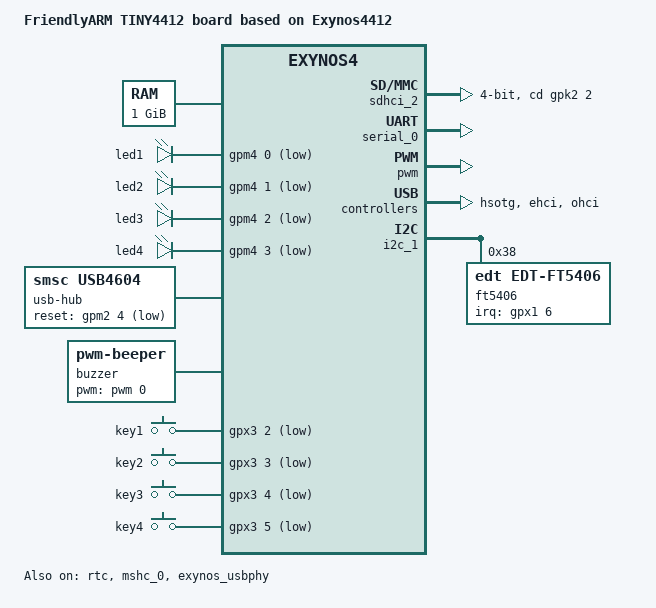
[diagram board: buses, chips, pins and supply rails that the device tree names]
/*
 * FriendlyARM's Exynos4412 based TINY4412 board device tree source
 *
 * Copyright (c) 2013 Alex Ling <kasimling@gmail.com>
 *
 * Device tree source file for FriendlyARM's TINY4412 board which is based on
 * Samsung's Exynos4412 SoC.
 *
 * This program is free software; you can redistribute it and/or modify
 * it under the terms of the GNU General Public License version 2 as
 * published by the Free Software Foundation.
*/

/dts-v1/;
#include "exynos4412.dtsi"
#include <dt-bindings/gpio/gpio.h>
#include <dt-bindings/input/input.h>

/ {
	model = "FriendlyARM TINY4412 board based on Exynos4412";
	compatible = "friendlyarm,tiny4412", "samsung,exynos4412", "samsung,exynos4";

	chosen {
		stdout-path = &serial_0;
	};

	memory@40000000 {
		device_type = "memory";
		reg = <0x40000000 0x40000000>;
	};

	leds {
		compatible = "gpio-leds";

		led1 {
			label = "led1";
			gpios = <&gpm4 0 GPIO_ACTIVE_LOW>;
			default-state = "off";
			linux,default-trigger = "heartbeat";
		};

		led2 {
			label = "led2";
			gpios = <&gpm4 1 GPIO_ACTIVE_LOW>;
			default-state = "off";
			linux,default-trigger = "mmc0";
		};

		led3 {
			label = "led3";
			gpios = <&gpm4 2 GPIO_ACTIVE_LOW>;
			default-state = "off";
			linux,default-trigger = "mmc1";
		};

		led4 {
			label = "led4";
			gpios = <&gpm4 3 GPIO_ACTIVE_LOW>;
			default-state = "off";
			linux,default-trigger = "none";
		};
	};

	fixed-rate-clocks {
		xxti {
			compatible = "samsung,clock-xxti";
			clock-frequency = <0>;
		};

		xusbxti {
			compatible = "samsung,clock-xusbxti";
			clock-frequency = <24000000>;
		};
	};

	usb-hub { 
		compatible = "smsc,usb4604";
		reset-gpios = <&gpm2 4 GPIO_ACTIVE_LOW>;
		initial-mode = <1>; 
		status = "okay";
	};

		
	HelloWorld {
		compatible = "tiny4412, hello_world";
		status = "okay";
		
		device1 {
			example = "hello_world";
		};
	};

	buzzer {
		compatible = "pwm-beeper";
		pwms = <&pwm 0 1000000000 0>;
	};

	gpio_keys {
		compatible = "gpio-keys";
		pinctrl-names = "default";

		key1 {
			interrupt-parent = <&gpx3>;
			interrupts = <2 IRQ_TYPE_EDGE_FALLING>;
			gpios = <&gpx3 2 GPIO_ACTIVE_LOW>;
			linux,code = <KEY_1>;
			label = "key1";
			debounce-interval = <10>;
			wakeup-source;
		};
		key2 {
			interrupt-parent = <&gpx3>;
			interrupts = <3 IRQ_TYPE_EDGE_FALLING>;
			gpios = <&gpx3 3 GPIO_ACTIVE_LOW>;
			linux,code = <KEY_2>;
			label = "key2";
			debounce-interval = <10>;
			wakeup-source;
		};
		key3 {
			interrupt-parent = <&gpx3>;
			interrupts = <4 IRQ_TYPE_EDGE_FALLING>;
			gpios = <&gpx3 4 GPIO_ACTIVE_LOW>;
			linux,code = <KEY_3>;
			label = "key3";
			debounce-interval = <10>;
			wakeup-source;
		};
		key4 {
			interrupt-parent = <&gpx3>;
			interrupts = <5 IRQ_TYPE_EDGE_FALLING>;
			gpios = <&gpx3 5 GPIO_ACTIVE_LOW>;
			linux,code = <KEY_4>;
			label = "key4";
			debounce-interval = <10>;
			wakeup-source;
		};	
	};

	backlight {
		compatible = "tiny4412, onewire_backlight";
		reg = <0x139D0000 0x1000>;
		pinctrl-names = "backlight_in", "backlight_out";
		pinctrl-0 = <&backlight_in>;
		pinctrl-1 = <&backlight_out>;
		gpios = <&gpx1 2 GPIO_ACTIVE_HIGH>;
		clock-names = "timers";
		clocks = <&clock CLK_PWM>;
		interrupts = <GIC_SPI 40 IRQ_TYPE_LEVEL_HIGH>;
		pwms = <&pwm 0 1000000000 0>;
	};

	lcd_demo@11C00000{
			compatible         = "tiny4412,lcd_demo";
			reg = <0x11C00000  0x20c0 0x10010210 0x08 0x10023c80 0x04 0x1003c000 0x1000>;
			pinctrl-names = "default";
			pinctrl-0 = <&lcd_demo>;
			clocks = <&clock CLK_FIMD0 &clock CLK_ACLK160>;
			clock-names = "fimd0","aclk160";
	};

};


&rtc {
	status = "okay";
};

&sdhci_2 {
	bus-width = <4>;
	pinctrl-0 = <&sd2_clk &sd2_cmd &sd2_cd &sd2_bus4>;
	pinctrl-names = "default";
	cd-gpios = <&gpk2 2 GPIO_ACTIVE_HIGH>;
	status = "okay";
};

&serial_0 {
	status = "okay";
};

&mshc_0 {
	pinctrl-0 = <&sd4_clk &sd4_cmd &sd4_bus4 &sd4_bus8>;
	pinctrl-names = "default";
	status = "okay";

	num-slots = <1>;
	broken-cd;
	card-detect-delay = <200>;
	samsung,dw-mshc-ciu-div = <3>;
	samsung,dw-mshc-sdr-timing = <2 3>;
	samsung,dw-mshc-ddr-timing = <1 2>;
	bus-width = <8>;
	cap-mmc-highspeed;
};

&pwm {
	samsung,pwm-outputs = <0>;
	pinctrl-0 = <&pwm0_out>;
	pinctrl-names = "default";
	status = "okay";	
};

&exynos_usbphy {
	status = "okay";
};

&hsotg {
	status = "okay";
};

&ehci {
	status = "okay";
	port@0 {
		status = "okay";
	};
	port@1 {
		status = "okay";
	};
	port@2 {
		status = "okay";
	};
};

&ohci {
	status = "okay";
	port@0 {
		status = "okay";
	};
};

&pinctrl_1 {
	backlight_out: backlight_out {
		samsung,pins = "gpx1-2";
		samsung,pin-function = <EXYNOS_PIN_FUNC_OUTPUT>;
		samsung,pin-pud = <EXYNOS_PIN_PULL_NONE>;
		samsung,pin-drv = <EXYNOS4_PIN_DRV_LV1>;
	};

	backlight_in: backlight_in {
		samsung,pins = "gpx1-2";
		samsung,pin-function = <EXYNOS_PIN_FUNC_INPUT>;
		samsung,pin-pud = <EXYNOS_PIN_PULL_NONE>;
		samsung,pin-drv = <EXYNOS4_PIN_DRV_LV1>;
	};
	
};

&i2c_1 {
	samsung,i2c-sda-delay = <100>;
	samsung,i2c-slave-addr = <0x10>;
	samsung,i2c-max-bus-freq = <400000>;
	status = "okay";

	ft5406: touchscreen@38 {
		compatible = "edt,edt-ft5406";
		reg = <0x38>;
		interrupt-parent = <&gpx1>;
		interrupts = <6 IRQ_TYPE_EDGE_FALLING>;
		touchscreen-size-x = <800>;
		touchscreen-size-y = <480>;
		touchscreen-fuzz-x = <4>;
		touchscreen-fuzz-y = <7>;
		touchscreen-fuzz-pressure = <2>;
		touchscreen-max-pressure = <2048>;
	};
};

/*
&fimd {
	pinctrl-0 = <&lcd_clk &lcd_data24>;
	pinctrl-names = "default";
	status = "okay";
	clocks = <&clock CLK_FIMD0>, <&clock CLK_ACLK160>;
	
	display-timings {
		native-mode = <&timing0>;
		timing0: timing {
			clock-frequency = <30000000>;
			hactive = <800>;
			vactive = <480>;
			hfront-porch = <80>;
			hback-porch = <36>;
			hsync-len = <48>;
			vback-porch = <15>;
			vfront-porch = <22>;
			vsync-len = <3>;
		};
	};
	
	port {
		dsi_in: endpoint {
			remote-endpoint = <&dsi_out>;
		};
	};
};

&dsi_0 {
    samsung,burst-clock-frequency = <500000000>;
    samsung,esc-clock-frequency = <20000000>;
    samsung,pll-clock-frequency = <24000000>;
	status = "okay";
	
	ports {
		#address-cells = <1>;
		#size-cells = <0>;

		port@1 {
			reg = <1>;

			dsi_out: endpoint {
				remote-endpoint = <&dsi_in>;
				samsung,burst-clock-frequency = <500000000>;
				samsung,esc-clock-frequency = <20000000>;
			};
		};
	};
};
*/

&pinctrl_0 {
        lcd_demo: lcd{
                samsung,pins = "gpf0-0", "gpf0-1", "gpf0-2", "gpf0-3", "gpf0-4", "gpf0-5", "gpf0-6","gpf0-7", "gpf1-0", "gpf1-1", "gpf1-2", "gpf1-3", "gpf1-4", "gpf1-5", "gpf1-6","gpf1-7", "gpf2-0", "gpf2-1", "gpf2-2", "gpf2-3", "gpf2-4", "gpf2-5", "gpf2-6","gpf2-7", "gpf3-0", "gpf3-1", "gpf3-2", "gpf3-3";
                samsung,pin-function = <2>;
                samsung,pin-pud = <0>;
                samsung,pin-drv = <0>;
        };

};



